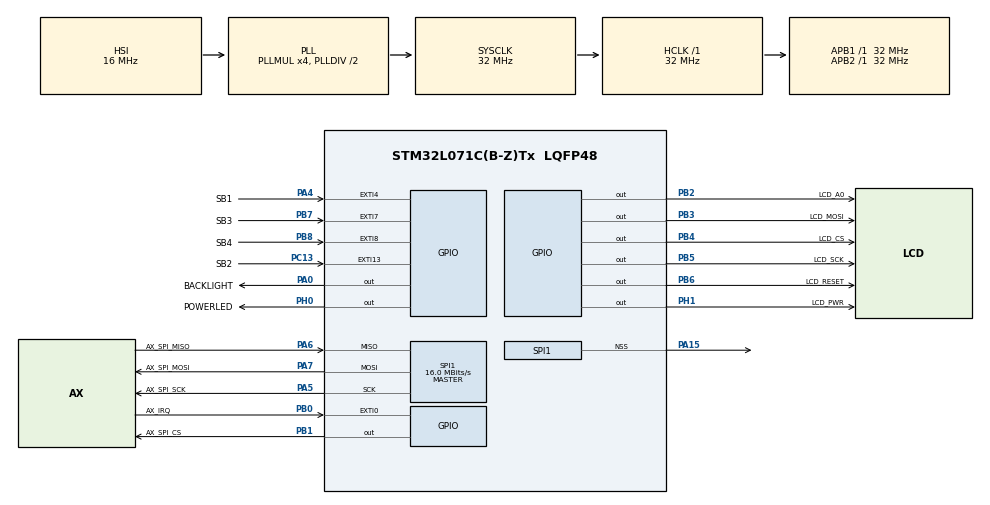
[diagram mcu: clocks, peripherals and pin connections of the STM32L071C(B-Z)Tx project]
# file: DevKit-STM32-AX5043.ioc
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LPTIM1.ClockPrescaler=LPTIM_PRESCALER_DIV32
Mcu.Family=STM32L0
Mcu.Name=STM32L071C(B-Z)Tx
Mcu.Package=LQFP48
NVIC.EXTI0_1_IRQn=true\:0\:0\:true\:false\:true\:true
NVIC.EXTI4_15_IRQn=true\:0\:0\:false\:false\:true\:true
NVIC.LPTIM1_IRQn=true\:0\:0\:true\:false\:true\:true
PA0.GPIO_Label=BACKLIGHT
PA0.PinState=GPIO_PIN_SET
PA0.Signal=GPIO_Output
PA13.Mode=Serial_Wire
PA13.Signal=SYS_SWDIO
PA14.Mode=Serial_Wire
PA14.Signal=SYS_SWCLK
PA15.Mode=NSS_Signal_Hard_Output
PA15.Signal=SPI1_NSS
PA2.Signal=LPUART1_TX
PA3.Signal=LPUART1_RX
PA4.GPIO_Label=SB1
PA4.GPIO_ModeDefaultEXTI=GPIO_MODE_IT_FALLING
PA4.GPIO_PuPd=GPIO_PULLUP
PA4.Signal=GPXTI4
PA5.GPIO_Label=AX_SPI_SCK
PA5.Mode=Full_Duplex_Master
PA5.Signal=SPI1_SCK
PA6.GPIO_Label=AX_SPI_MISO
PA6.Mode=Full_Duplex_Master
PA6.Signal=SPI1_MISO
PA7.GPIO_Label=AX_SPI_MOSI
PA7.Mode=Full_Duplex_Master
PA7.Signal=SPI1_MOSI
PB0.GPIO_Label=AX_IRQ
PB0.GPIO_ModeDefaultEXTI=GPIO_MODE_IT_RISING
PB0.Signal=GPXTI0
PB1.GPIO_Label=AX_SPI_CS
PB1.GPIO_Speed=GPIO_SPEED_FREQ_LOW
PB1.PinState=GPIO_PIN_RESET
PB1.Signal=GPIO_Output
PB2.GPIO_Label=LCD_A0
PB2.Signal=GPIO_Output
PB3.GPIO_Label=LCD_MOSI
PB3.Signal=GPIO_Output
PB4.GPIO_Label=LCD_CS
PB4.PinState=GPIO_PIN_SET
PB4.Signal=GPIO_Output
PB5.GPIO_Label=LCD_SCK
PB5.Signal=GPIO_Output
PB6.GPIO_Label=LCD_RESET
PB6.Signal=GPIO_Output
PB7.GPIO_Label=SB3
PB7.GPIO_ModeDefaultEXTI=GPIO_MODE_IT_FALLING
PB7.GPIO_PuPd=GPIO_PULLUP
PB7.Signal=GPXTI7
PB8.GPIO_Label=SB4
PB8.GPIO_ModeDefaultEXTI=GPIO_MODE_IT_FALLING
PB8.GPIO_PuPd=GPIO_PULLUP
PB8.Signal=GPXTI8
PC13.GPIO_Label=SB2
PC13.GPIO_ModeDefaultEXTI=GPIO_MODE_IT_FALLING
PC13.GPIO_PuPd=GPIO_PULLUP
PC13.Signal=GPXTI13
PC14-OSC32_IN.Mode=LSE-External-Oscillator
PC14-OSC32_IN.Signal=RCC_OSC32_IN
PC15-OSC32_OUT.Mode=LSE-External-Oscillator
PC15-OSC32_OUT.Signal=RCC_OSC32_OUT
PH0-OSC_IN.GPIO_Label=POWERLED
PH0-OSC_IN.Signal=GPIO_Output
PH1-OSC_OUT.GPIO_Label=LCD_PWR
PH1-OSC_OUT.Signal=GPIO_Output
ProjectManager.HeapSize=0x1000
ProjectManager.StackSize=0x1000
ProjectManager.TargetToolchain=EWARM V7
RCC.AHBFreq_Value=32000000
RCC.APB1Freq_Value=32000000
RCC.APB1TimFreq_Value=32000000
RCC.APB2Freq_Value=32000000
RCC.APB2TimFreq_Value=32000000
RCC.HCLKFreq_Value=32000000
RCC.HSE_VALUE=8000000
RCC.HSI16_VALUE=16000000
RCC.HSI_VALUE=16000000
RCC.LptimClockSelection=RCC_LPTIM1CLKSOURCE_LSE
RCC.MSI_VALUE=2097000
RCC.PLLMUL=RCC_PLLMUL_4
RCC.RTCClockSelection=RCC_RTCCLKSOURCE_LSE
RCC.RTCClockSelectionVirtual=RCC_RTCCLKSOURCE_LSE
RCC.SYSCLKFreq_VALUE=32000000
RCC.SYSCLKSource=RCC_SYSCLKSOURCE_PLLCLK
RCC.VCOOutputFreq_Value=64000000
SPI1.CalculateBaudRate=16.0 MBits/s
SPI1.Direction=SPI_DIRECTION_2LINES
SPI1.Mode=SPI_MODE_MASTER
SPI1.VirtualNSS=VM_NSSHARD
SPI1.VirtualType=VM_MASTER
VP_ADC_TempSens_Input.Mode=IN-TempSens
VP_ADC_Vref_Input.Mode=IN-Vrefint
VP_LPTIM1_VS_LPTIM_counterModeInternalClock.Mode=Counts__internal_clock_event_00
board=custom

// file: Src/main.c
/* USER CODE BEGIN Header */
/**
  ******************************************************************************
  * @file           : main.c
  * @brief          : Main program body
  ******************************************************************************
  ** This notice applies to any and all portions of this file
  * that are not between comment pairs USER CODE BEGIN and
  * USER CODE END. Other portions of this file, whether
  * inserted by the user or by software development tools
  * are owned by their respective copyright owners.
  *
  * COPYRIGHT(c) 2018 STMicroelectronics
  *
  * Redistribution and use in source and binary forms, with or without modification,
  * are permitted provided that the following conditions are met:
  *   1. Redistributions of source code must retain the above copyright notice,
  *      this list of conditions and the following disclaimer.
  *   2. Redistributions in binary form must reproduce the above copyright notice,
  *      this list of conditions and the following disclaimer in the documentation
  *      and/or other materials provided with the distribution.
  *   3. Neither the name of STMicroelectronics nor the names of its contributors
  *      may be used to endorse or promote products derived from this software
  *      without specific prior written permission.
  *
  * THIS SOFTWARE IS PROVIDED BY THE COPYRIGHT HOLDERS AND CONTRIBUTORS "AS IS"
  * AND ANY EXPRESS OR IMPLIED WARRANTIES, INCLUDING, BUT NOT LIMITED TO, THE
  * IMPLIED WARRANTIES OF MERCHANTABILITY AND FITNESS FOR A PARTICULAR PURPOSE ARE
  * DISCLAIMED. IN NO EVENT SHALL THE COPYRIGHT HOLDER OR CONTRIBUTORS BE LIABLE
  * FOR ANY DIRECT, INDIRECT, INCIDENTAL, SPECIAL, EXEMPLARY, OR CONSEQUENTIAL
  * DAMAGES (INCLUDING, BUT NOT LIMITED TO, PROCUREMENT OF SUBSTITUTE GOODS OR
  * SERVICES; LOSS OF USE, DATA, OR PROFITS; OR BUSINESS INTERRUPTION) HOWEVER
  * CAUSED AND ON ANY THEORY OF LIABILITY, WHETHER IN CONTRACT, STRICT LIABILITY,
  * OR TORT (INCLUDING NEGLIGENCE OR OTHERWISE) ARISING IN ANY WAY OUT OF THE USE
  * OF THIS SOFTWARE, EVEN IF ADVISED OF THE POSSIBILITY OF SUCH DAMAGE.
  *
  ******************************************************************************
  */
/* USER CODE END Header */

#include "main.h"

/* USER CODE BEGIN Includes */

#include "wtimer.h"
#include "radio.h"
#include "nbfi.h"
#include "nbfi_config.h"
#include "glcd.h"
#include "gui.h"
#include "waviotdvk.h"
#include "time.h"
#include "nbfi_misc.h"

/* USER CODE END Includes */

ADC_HandleTypeDef hadc;

LPTIM_HandleTypeDef hlptim1;

SPI_HandleTypeDef hspi1;

/* USER CODE BEGIN PV */
/* Private variables ---------------------------------------------------------*/

struct wtimer_desc everysecond_desc, gui_update_desc;
static uint8_t cnt_button_idle_sec = IDLE_TIME;                                 //таймер бездействия кнопок (сек)
bool status_sleep = 0;
bool gui_update_state = 0;

/* USER CODE END PV */

void SystemClock_Config(void);
static void MX_GPIO_Init(void);
static void MX_LPTIM1_Init(void);
static void MX_ADC_Init(void);
static void MX_SPI1_Init(void);
/* USER CODE BEGIN PFP */
/* Private function prototypes -----------------------------------------------*/

void EverySecond(struct wtimer_desc *desc);
void GUI_UpdateHandler(struct wtimer_desc *desc);

/* USER CODE END PFP */

/* USER CODE BEGIN 0 */

void GUI_UpdateHandler(struct wtimer_desc *desc)
{
  gui_update_state = true;
  ScheduleTask(desc, 0, RELATIVE, SECONDS(1));                                  //вернуться через 1с
}

void EverySecond(struct wtimer_desc *desc)
{
  cnt_button_idle_sec--;                                                        //декремент таймера бездействия
  ScheduleTask(desc, 0, RELATIVE, SECONDS(1));                                  //вернуться через 1с
}

/* USER CODE END 0 */

int main(void)
{

  /* MCU Configuration--------------------------------------------------------*/

  /* Reset of all peripherals, Initializes the Flash interface and the Systick. */
  HAL_Init();

  /* USER CODE BEGIN Init */
  nbfi_lock_unlock_nbfi_irq(1);
  /* USER CODE END Init */

  /* Configure the system clock */
  SystemClock_Config();

  /* USER CODE BEGIN SysInit */
  nbfi_lock_unlock_nbfi_irq(0);
  /* USER CODE END SysInit */

  /* Initialize all configured peripherals */
  MX_GPIO_Init();
  MX_LPTIM1_Init();
  MX_ADC_Init();
  MX_SPI1_Init();
  /* USER CODE BEGIN 2 */

  HAL_GPIO_WritePin(GPIOH, POWERLED_Pin, GPIO_PIN_SET);                       //POWERLED_ON

  ax5043_init();

  LCD_Init();                                                                   //GUI Init {
  Backlight(true);
  GUI_Init();
  RTC_Init();                                                                   //GUI Init }
  ScheduleTask(&gui_update_desc, &GUI_UpdateHandler, RELATIVE, MILLISECONDS(BUT_RESP_TIME));
  ScheduleTask(&everysecond_desc, &EverySecond, RELATIVE, SECONDS(1));

  /* USER CODE END 2 */

  /* Infinite loop */
  /* USER CODE BEGIN WHILE */
  while (1)
  {
    if(GetButtonState() & (SB1_INT|SB2_INT|SB3_INT|SB4_INT))                    //если прерывание по кнопке
    {
      ResetButtonFlags(SB1_INT|SB2_INT|SB3_INT|SB4_INT);                        //сброс флагов прерывания
      cnt_button_idle_sec = IDLE_TIME-1;                                        //сброс таймера бездействия
      if(status_sleep)
      {
        status_sleep = false;
        MX_GPIO_Init();
        MX_ADC_Init();
        LCD_Init();
        Backlight(true);                                                        //включение подсветки
        HAL_SPI_Init(&hspi1);
      }
    }

    if(GetButtonState() & (SB1_PRESS|SB2_PRESS|SB3_PRESS|SB4_PRESS))            //если зафиксировано нажатие кнопки
    {
      GUI_Update();
      ScheduleTask(&gui_update_desc, &GUI_UpdateHandler, RELATIVE, MILLISECONDS(BUT_RESP_TIME));  //поставить задачу GUI_Update через BUT_RESP_TIME
    }

    if(gui_update_state)
    {
      gui_update_state = false;
      GUI_Update();
//      HAL_GPIO_WritePin(GPIOH, POWERLED_Pin, GPIO_PIN_SET);                     //POWERLED_ON
//      HAL_Delay(2);
//      HAL_GPIO_WritePin(GPIOH, POWERLED_Pin, GPIO_PIN_RESET);                   //POWERLED_OFF
    }

    NBFi_ProcessRxPackets(1);

    #ifdef DEBUG_NO_SLEEP
    #warning DEBUG_NO_SLEEP
    #else
    if(cnt_button_idle_sec > IDLE_TIME)                                         //если время бездействия превысило IDLE_TIME
    {
      if (axradio_cansleep() && NBFi_can_sleep())
      {
        /////////////////////////// DEINIT periphery ////////////////////////////
        ADC->CCR = 0;
        HAL_SPI_DeInit(&hspi1);

        GPIO_InitTypeDef GPIO_InitStruct = {0};                                 //установка портов в GPIO_MODE_ANALOG {
        GPIO_InitStruct.Mode = GPIO_MODE_ANALOG;
        GPIO_InitStruct.Pull = GPIO_NOPULL;

        GPIO_InitStruct.Pin = POWERLED_Pin|LCD_PWR_Pin;
        HAL_GPIO_Init(GPIOH, &GPIO_InitStruct);

        GPIO_InitStruct.Pin = BACKLIGHT_Pin;
        HAL_GPIO_Init(BACKLIGHT_GPIO_Port, &GPIO_InitStruct);

        GPIO_InitStruct.Pin = AX_SPI_CS_Pin|LCD_A0_Pin|LCD_MOSI_Pin|LCD_SCK_Pin|LCD_RESET_Pin;
        HAL_GPIO_Init(GPIOB, &GPIO_InitStruct);

        GPIO_InitStruct.Pin = LCD_CS_Pin;
        HAL_GPIO_Init(LCD_CS_GPIO_Port, &GPIO_InitStruct);                      //установка портов в GPIO_MODE_ANALOG }
        ////////////////////////////////////////////////////////////////////////
        status_sleep = true;
        HAL_PWR_EnterSTOPMode(PWR_LOWPOWERREGULATOR_ON, PWR_SLEEPENTRY_WFI);
        SystemClock_Config();
      }
    }
    #endif

    /* USER CODE END WHILE */

  }
}

void SystemClock_Config(void)
{
  RCC_OscInitTypeDef RCC_OscInitStruct = {0};
  RCC_ClkInitTypeDef RCC_ClkInitStruct = {0};
  RCC_PeriphCLKInitTypeDef PeriphClkInit = {0};

  /**Configure the main internal regulator output voltage
  */
  __HAL_PWR_VOLTAGESCALING_CONFIG(PWR_REGULATOR_VOLTAGE_SCALE1);
  /**Configure LSE Drive Capability
  */
  HAL_PWR_EnableBkUpAccess();
  __HAL_RCC_LSEDRIVE_CONFIG(RCC_LSEDRIVE_LOW);
  /**Initializes the CPU, AHB and APB busses clocks
  */
  RCC_OscInitStruct.OscillatorType = RCC_OSCILLATORTYPE_HSI|RCC_OSCILLATORTYPE_LSE;
  RCC_OscInitStruct.LSEState = RCC_LSE_ON;
  RCC_OscInitStruct.HSIState = RCC_HSI_ON;
  RCC_OscInitStruct.HSICalibrationValue = RCC_HSICALIBRATION_DEFAULT;
  RCC_OscInitStruct.PLL.PLLState = RCC_PLL_ON;
  RCC_OscInitStruct.PLL.PLLSource = RCC_PLLSOURCE_HSI;
  RCC_OscInitStruct.PLL.PLLMUL = RCC_PLLMUL_4;
  RCC_OscInitStruct.PLL.PLLDIV = RCC_PLLDIV_2;
  if (HAL_RCC_OscConfig(&RCC_OscInitStruct) != HAL_OK)
  {
    Error_Handler();
  }
  /**Initializes the CPU, AHB and APB busses clocks
  */
  RCC_ClkInitStruct.ClockType = RCC_CLOCKTYPE_HCLK|RCC_CLOCKTYPE_SYSCLK
                              |RCC_CLOCKTYPE_PCLK1|RCC_CLOCKTYPE_PCLK2;
  RCC_ClkInitStruct.SYSCLKSource = RCC_SYSCLKSOURCE_PLLCLK;
  RCC_ClkInitStruct.AHBCLKDivider = RCC_SYSCLK_DIV1;
  RCC_ClkInitStruct.APB1CLKDivider = RCC_HCLK_DIV1;
  RCC_ClkInitStruct.APB2CLKDivider = RCC_HCLK_DIV1;

  if (HAL_RCC_ClockConfig(&RCC_ClkInitStruct, FLASH_LATENCY_1) != HAL_OK)
  {
    Error_Handler();
  }
  PeriphClkInit.PeriphClockSelection = RCC_PERIPHCLK_LPTIM1;
  PeriphClkInit.LptimClockSelection = RCC_LPTIM1CLKSOURCE_LSE;

  if (HAL_RCCEx_PeriphCLKConfig(&PeriphClkInit) != HAL_OK)
  {
    Error_Handler();
  }
}

static void MX_ADC_Init(void)
{

  ADC_ChannelConfTypeDef sConfig = {0};

  /**Configure the global features of the ADC (Clock, Resolution, Data Alignment and number of conversion)
  */
  hadc.Instance = ADC1;
  hadc.Init.OversamplingMode = DISABLE;
  hadc.Init.ClockPrescaler = ADC_CLOCK_SYNC_PCLK_DIV2;
  hadc.Init.Resolution = ADC_RESOLUTION_12B;
  hadc.Init.SamplingTime = ADC_SAMPLETIME_160CYCLES_5;
  hadc.Init.ScanConvMode = ADC_SCAN_DIRECTION_FORWARD;
  hadc.Init.DataAlign = ADC_DATAALIGN_RIGHT;
  hadc.Init.ContinuousConvMode = DISABLE;
  hadc.Init.DiscontinuousConvMode = ENABLE;
  hadc.Init.ExternalTrigConvEdge = ADC_EXTERNALTRIGCONVEDGE_NONE;
  hadc.Init.ExternalTrigConv = ADC_SOFTWARE_START;
  hadc.Init.DMAContinuousRequests = DISABLE;
  hadc.Init.EOCSelection = ADC_EOC_SEQ_CONV;
  hadc.Init.Overrun = ADC_OVR_DATA_PRESERVED;
  hadc.Init.LowPowerAutoWait = DISABLE;
  hadc.Init.LowPowerFrequencyMode = DISABLE;
  hadc.Init.LowPowerAutoPowerOff = ENABLE;
  if (HAL_ADC_Init(&hadc) != HAL_OK)
  {
    Error_Handler();
  }
  /**Configure for the selected ADC regular channel to be converted.
  */
  sConfig.Channel = ADC_CHANNEL_TEMPSENSOR;
  sConfig.Rank = ADC_RANK_CHANNEL_NUMBER;
  if (HAL_ADC_ConfigChannel(&hadc, &sConfig) != HAL_OK)
  {
    Error_Handler();
  }
  /**Configure for the selected ADC regular channel to be converted.
  */
  sConfig.Channel = ADC_CHANNEL_VREFINT;
  if (HAL_ADC_ConfigChannel(&hadc, &sConfig) != HAL_OK)
  {
    Error_Handler();
  }
  /* USER CODE BEGIN ADC_Init 2 */

  HAL_ADCEx_Calibration_Start(&hadc, ADC_SINGLE_ENDED);

  /* USER CODE END ADC_Init 2 */

}

static void MX_LPTIM1_Init(void)
{

  hlptim1.Instance = LPTIM1;
  hlptim1.Init.Clock.Source = LPTIM_CLOCKSOURCE_APBCLOCK_LPOSC;
  hlptim1.Init.Clock.Prescaler = LPTIM_PRESCALER_DIV32;
  hlptim1.Init.Trigger.Source = LPTIM_TRIGSOURCE_SOFTWARE;
  hlptim1.Init.OutputPolarity = LPTIM_OUTPUTPOLARITY_HIGH;
  hlptim1.Init.UpdateMode = LPTIM_UPDATE_IMMEDIATE;
  hlptim1.Init.CounterSource = LPTIM_COUNTERSOURCE_INTERNAL;
  if (HAL_LPTIM_Init(&hlptim1) != HAL_OK)
  {
    Error_Handler();
  }

}

static void MX_SPI1_Init(void)
{

  /* SPI1 parameter configuration*/
  hspi1.Instance = SPI1;
  hspi1.Init.Mode = SPI_MODE_MASTER;
  hspi1.Init.Direction = SPI_DIRECTION_2LINES;
  hspi1.Init.DataSize = SPI_DATASIZE_8BIT;
  hspi1.Init.CLKPolarity = SPI_POLARITY_LOW;
  hspi1.Init.CLKPhase = SPI_PHASE_1EDGE;
  hspi1.Init.NSS = SPI_NSS_HARD_OUTPUT;
  hspi1.Init.BaudRatePrescaler = SPI_BAUDRATEPRESCALER_2;
  hspi1.Init.FirstBit = SPI_FIRSTBIT_MSB;
  hspi1.Init.TIMode = SPI_TIMODE_DISABLE;
  hspi1.Init.CRCCalculation = SPI_CRCCALCULATION_DISABLE;
  hspi1.Init.CRCPolynomial = 7;
  if (HAL_SPI_Init(&hspi1) != HAL_OK)
  {
    Error_Handler();
  }

}

static void MX_GPIO_Init(void)
{
  GPIO_InitTypeDef GPIO_InitStruct = {0};

  /* GPIO Ports Clock Enable */
  __HAL_RCC_GPIOC_CLK_ENABLE();
  __HAL_RCC_GPIOH_CLK_ENABLE();
  __HAL_RCC_GPIOA_CLK_ENABLE();
  __HAL_RCC_GPIOB_CLK_ENABLE();

  /*Configure GPIO pin Output Level */
  HAL_GPIO_WritePin(GPIOH, POWERLED_Pin|LCD_PWR_Pin, GPIO_PIN_RESET);

  /*Configure GPIO pin Output Level */
  HAL_GPIO_WritePin(BACKLIGHT_GPIO_Port, BACKLIGHT_Pin, GPIO_PIN_SET);

  /*Configure GPIO pin Output Level */
  HAL_GPIO_WritePin(GPIOB, AX_SPI_CS_Pin|LCD_A0_Pin|LCD_MOSI_Pin|LCD_SCK_Pin
                          |LCD_RESET_Pin, GPIO_PIN_RESET);

  /*Configure GPIO pin Output Level */
  HAL_GPIO_WritePin(LCD_CS_GPIO_Port, LCD_CS_Pin, GPIO_PIN_SET);

  /*Configure GPIO pin : SB2_Pin */
  GPIO_InitStruct.Pin = SB2_Pin;
  GPIO_InitStruct.Mode = GPIO_MODE_IT_FALLING;
  GPIO_InitStruct.Pull = GPIO_PULLUP;
  HAL_GPIO_Init(SB2_GPIO_Port, &GPIO_InitStruct);

  /*Configure GPIO pins : POWERLED_Pin LCD_PWR_Pin */
  GPIO_InitStruct.Pin = POWERLED_Pin|LCD_PWR_Pin;
  GPIO_InitStruct.Mode = GPIO_MODE_OUTPUT_PP;
  GPIO_InitStruct.Pull = GPIO_NOPULL;
  GPIO_InitStruct.Speed = GPIO_SPEED_FREQ_LOW;
  HAL_GPIO_Init(GPIOH, &GPIO_InitStruct);

  /*Configure GPIO pin : BACKLIGHT_Pin */
  GPIO_InitStruct.Pin = BACKLIGHT_Pin;
  GPIO_InitStruct.Mode = GPIO_MODE_OUTPUT_PP;
  GPIO_InitStruct.Pull = GPIO_NOPULL;
  GPIO_InitStruct.Speed = GPIO_SPEED_FREQ_LOW;
  HAL_GPIO_Init(BACKLIGHT_GPIO_Port, &GPIO_InitStruct);

  /*Configure GPIO pins : PA1 PA8 PA9 PA10
                           PA11 PA12 */
  GPIO_InitStruct.Pin = GPIO_PIN_1|GPIO_PIN_8|GPIO_PIN_9|GPIO_PIN_10
                          |GPIO_PIN_11|GPIO_PIN_12;
  GPIO_InitStruct.Mode = GPIO_MODE_ANALOG;
  GPIO_InitStruct.Pull = GPIO_NOPULL;
  HAL_GPIO_Init(GPIOA, &GPIO_InitStruct);

  /*Configure GPIO pins : PA2 PA3 */
  GPIO_InitStruct.Pin = GPIO_PIN_2|GPIO_PIN_3;
  GPIO_InitStruct.Mode = GPIO_MODE_AF_PP;
  GPIO_InitStruct.Pull = GPIO_NOPULL;
  GPIO_InitStruct.Speed = GPIO_SPEED_FREQ_VERY_HIGH;
  GPIO_InitStruct.Alternate = GPIO_AF6_LPUART1;
  HAL_GPIO_Init(GPIOA, &GPIO_InitStruct);

  /*Configure GPIO pin : SB1_Pin */
  GPIO_InitStruct.Pin = SB1_Pin;
  GPIO_InitStruct.Mode = GPIO_MODE_IT_FALLING;
  GPIO_InitStruct.Pull = GPIO_PULLUP;
  HAL_GPIO_Init(SB1_GPIO_Port, &GPIO_InitStruct);

  /*Configure GPIO pin : AX_IRQ_Pin */
  GPIO_InitStruct.Pin = AX_IRQ_Pin;
  GPIO_InitStruct.Mode = GPIO_MODE_IT_RISING;
  GPIO_InitStruct.Pull = GPIO_NOPULL;
  HAL_GPIO_Init(AX_IRQ_GPIO_Port, &GPIO_InitStruct);

  /*Configure GPIO pins : AX_SPI_CS_Pin LCD_A0_Pin LCD_MOSI_Pin LCD_CS_Pin
                           LCD_SCK_Pin LCD_RESET_Pin */
  GPIO_InitStruct.Pin = AX_SPI_CS_Pin|LCD_A0_Pin|LCD_MOSI_Pin|LCD_CS_Pin
                          |LCD_SCK_Pin|LCD_RESET_Pin;
  GPIO_InitStruct.Mode = GPIO_MODE_OUTPUT_PP;
  GPIO_InitStruct.Pull = GPIO_NOPULL;
  GPIO_InitStruct.Speed = GPIO_SPEED_FREQ_LOW;
  HAL_GPIO_Init(GPIOB, &GPIO_InitStruct);

  /*Configure GPIO pins : PB10 PB11 PB12 PB13
                           PB14 PB15 PB9 */
  GPIO_InitStruct.Pin = GPIO_PIN_10|GPIO_PIN_11|GPIO_PIN_12|GPIO_PIN_13
                          |GPIO_PIN_14|GPIO_PIN_15|GPIO_PIN_9;
  GPIO_InitStruct.Mode = GPIO_MODE_ANALOG;
  GPIO_InitStruct.Pull = GPIO_NOPULL;
  HAL_GPIO_Init(GPIOB, &GPIO_InitStruct);

  /*Configure GPIO pins : SB3_Pin SB4_Pin */
  GPIO_InitStruct.Pin = SB3_Pin|SB4_Pin;
  GPIO_InitStruct.Mode = GPIO_MODE_IT_FALLING;
  GPIO_InitStruct.Pull = GPIO_PULLUP;
  HAL_GPIO_Init(GPIOB, &GPIO_InitStruct);

  /* EXTI interrupt init*/
  HAL_NVIC_SetPriority(EXTI0_1_IRQn, 0, 0);
  HAL_NVIC_EnableIRQ(EXTI0_1_IRQn);

  HAL_NVIC_SetPriority(EXTI4_15_IRQn, 0, 0);
  HAL_NVIC_EnableIRQ(EXTI4_15_IRQn);

}

void Error_Handler(void)
{
  while(1)
  {
  }
}

/************************ (C) COPYRIGHT STMicroelectronics *****END OF FILE****/
